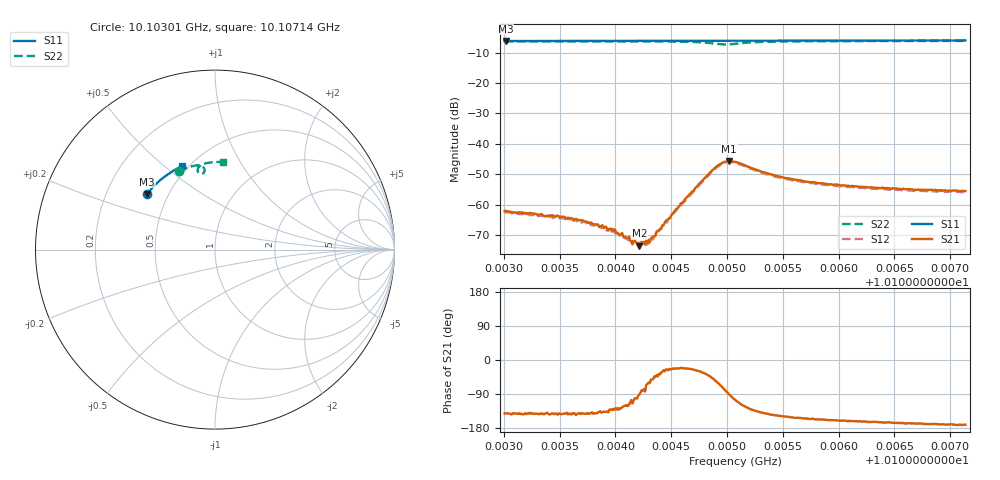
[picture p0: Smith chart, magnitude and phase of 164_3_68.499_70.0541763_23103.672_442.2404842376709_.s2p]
#  HZ  S  RI  R  50.00
! Rohde & Schwarz Vector Network Analyzer
! Rohde-Schwarz,ZNB20-2Port,1311601062101988,3.16
! Created: UTC 3/20/2024, 5:11:04 PM
! freq[Hz]  re:S11  im:S11  re:S21  im:S21  re:S12  im:S12  re:S22  im:S22
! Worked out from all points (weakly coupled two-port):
!   401 points, 10.10301 GHz to 10.10714 GHz, reference 50 ohm
!   highest |S21| = -45.62 dB at 10.10502 GHz (marker M1); lowest = -73.4 dB at 10.10422 GHz (marker M2)
!   lowest |S11| = -6.2 dB at 10.10302 GHz (marker M3), VSWR 2.91, Z = 19.1 + j15.5 ohm
!   |S11| at or under -10 dB: nowhere
!   |S22| runs from -7.4 to -6.2 dB; largest |S21 - S12| = 0.00055
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1.0103008e10  -0.3777 0.309  -0.000612 -0.000494  -0.000547 -0.000514  -0.1994 0.4368
1.0103018e10  -0.3773 0.3095  -0.000617 -0.000511  -0.000554 -0.000504  -0.1988 0.4371
1.010339e10  -0.3634 0.3274  -0.000509 -0.000438  -0.000484 -0.000453  -0.1765 0.4477
1.0103493e10  -0.3593 0.3322  -0.0005 -0.000404  -0.000444 -0.000374  -0.1698 0.4505
1.01037e10  -0.3511 0.3417  -0.000434 -0.000359  -0.000374 -0.000347  -0.1567 0.4555
1.0103875e10  -0.344 0.3496  -0.000342 -0.000297  -0.000284 -0.0003  -0.1452 0.4597
1.0103978e10  -0.3396 0.3541  -0.000231 -0.000282  -0.000222 -0.00027  -0.1381 0.462
1.0104154e10  -0.3322 0.3618  -9.44e-05 -0.000204  -8.28e-05 -0.000245  -0.1254 0.4655
1.0104216e10  -0.3296 0.3644  -5.16e-06 -0.000213  9.07e-06 -0.000216  -0.1206 0.4665
1.0104288e10  -0.3265 0.3675  0.000105 -0.000208  9.3e-05 -0.000217  -0.115 0.4675
1.0104329e10  -0.3246 0.3693  0.000184 -0.000228  0.000177 -0.000201  -0.1115 0.4683
1.0104391e10  -0.3218 0.3719  0.000313 -0.00023  0.000322 -0.000196  -0.1063 0.469
1.0104432e10  -0.32 0.3736  0.000413 -0.000209  0.000417 -0.000198  -0.1025 0.4694
1.0104639e10  -0.3107 0.3819  0.00123 -0.0005  0.00118 -0.000384  -0.0817 0.468
1.0104866e10  -0.3001 0.3908  0.00247 -0.00267  0.0026 -0.00233  -0.0578 0.4442
1.0104948e10  -0.2962 0.3939  0.00174 -0.00445  0.00206 -0.00411  -0.0645 0.4264
1.0105021e10  -0.2931 0.3966  -0.000105 -0.00524  0.000386 -0.005  -0.0822 0.4225
1.0105072e10  -0.2906 0.3986  -0.0013 -0.00491  -0.000852 -0.00483  -0.0923 0.4294
1.0105433e10  -0.2735 0.4119  -0.00252 -0.0017  -0.00222 -0.00184  -0.0762 0.4717
1.0105764e10  -0.2571 0.4234  -0.00211 -0.001  -0.00198 -0.00111  -0.0495 0.4813
1.0106455e10  -0.2211 0.445  -0.00181 -0.000498  -0.00166 -0.000618  -0.000844 0.4879
1.0107136e10  -0.1842 0.4632  -0.00166 -0.000269  -0.00156 -0.000395  0.0443 0.4879
